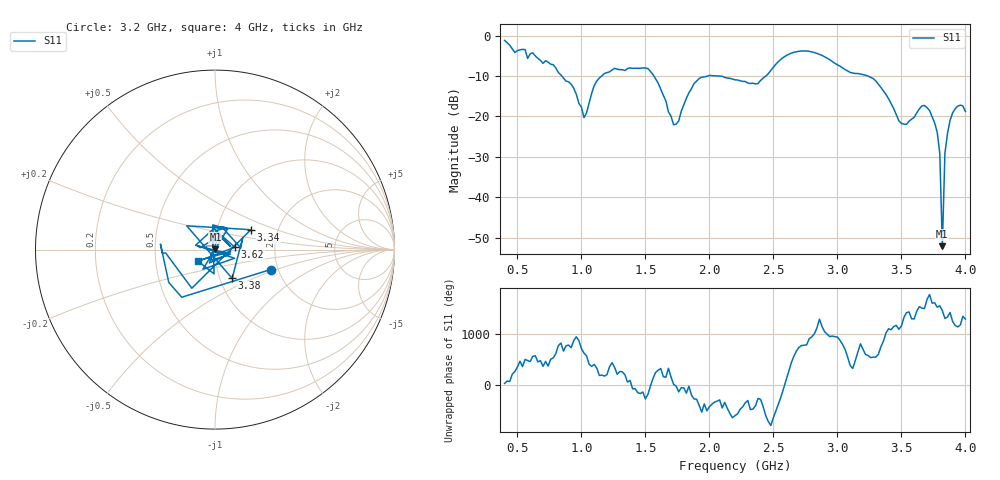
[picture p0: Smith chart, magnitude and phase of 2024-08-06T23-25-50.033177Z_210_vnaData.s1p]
!Created with skrf (http://scikit-rf.org).
# Hz S RI R 50.0
!freq ReS11 ImS11
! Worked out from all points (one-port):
!   181 points, 400 MHz to 4 GHz, reference 50 ohm
!   lowest |S11| = -52.1 dB at 3.82 GHz (marker M1), VSWR 1.00, Z = 50.2 + j0.083 ohm
!   |S11| at or under -10 dB: 1.567 GHz to 1.985 GHz (418.6 MHz wide, 23.6 % of centre); 2.086 GHz to 2.441 GHz (354.9 MHz wide, 15.7 % of centre); 3.239 GHz to end of sweep (the widest 3 of 4)
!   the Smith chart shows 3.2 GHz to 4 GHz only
!   S11 on the Smith chart (normalised r, x): 3.2 GHz: 1.83, -0.45; 3.34 GHz: 1.45, +0.34; 3.38 GHz: 1.14, -0.38; 3.62 GHz: 1.25, +0.03; 4 GHz: 0.82, -0.10
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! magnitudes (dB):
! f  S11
! 400 MHz  -1.2
! 860 MHz  -10.5
! 940 MHz  -13.0
! 1.02 GHz  -20.3
! 1.12 GHz  -11.2
! 1.3 GHz  -8.4
! 1.52 GHz  -8.2
! 1.72 GHz  -22.0
! 1.76 GHz  -21.1
! 1.92 GHz  -10.6
! 2.2 GHz  -10.9
! 2.38 GHz  -11.9
! 2.66 GHz  -4.1
! 3.1 GHz  -9.1
! 3.2 GHz  -9.6
! 3.34 GHz  -12.8
! 3.38 GHz  -14.6
! 3.48 GHz  -21.1
! 3.56 GHz  -21.1
! 3.62 GHz  -19.1
! 3.7 GHz  -17.8
! 3.78 GHz  -23.9
! 3.8 GHz  -29.1
! 3.82 GHz  -52.1
! 3.84 GHz  -29.1
! 3.86 GHz  -24.2
! 3.92 GHz  -18.1
! 4 GHz  -18.8
